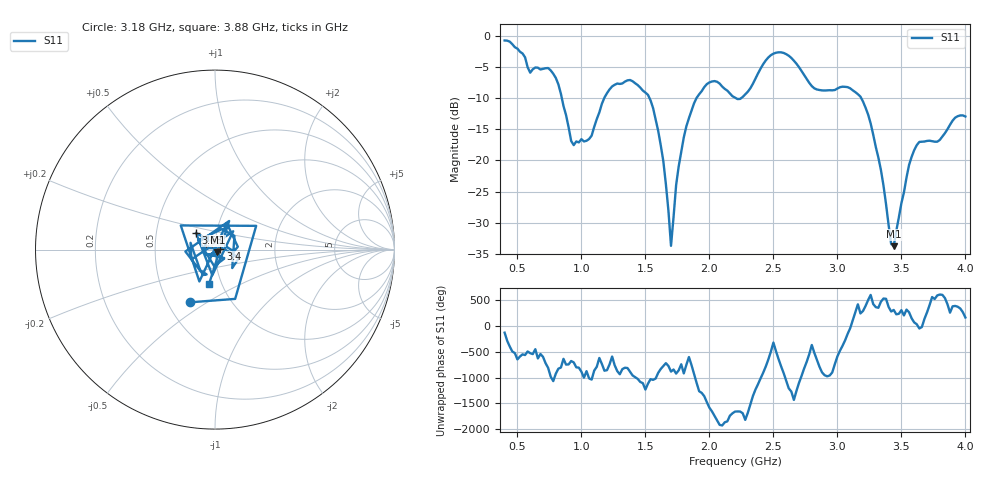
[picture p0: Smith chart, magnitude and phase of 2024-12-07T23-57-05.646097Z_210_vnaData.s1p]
!Created with skrf (http://scikit-rf.org).
# Hz S RI R 50.0
!freq ReS11 ImS11
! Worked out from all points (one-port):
!   181 points, 400 MHz to 4 GHz, reference 50 ohm
!   lowest |S11| = -33.8 dB at 3.44 GHz (marker M1), VSWR 1.04, Z = 51.4 - j1.55 ohm
!   |S11| at or under -10 dB: 846.9 MHz to 1.178 GHz (331.5 MHz wide, 32.7 % of centre); 1.532 GHz to 1.899 GHz (367.6 MHz wide, 21.4 % of centre); 3.186 GHz to end of sweep (the widest 3 of 4)
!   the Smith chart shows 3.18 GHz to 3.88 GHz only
!   S11 on the Smith chart (normalised r, x): 3.18 GHz: 0.65, -0.42; 3.4 GHz: 1.06, +0.01; 3.68 GHz: 0.79, +0.15; 3.88 GHz: 0.87, -0.35
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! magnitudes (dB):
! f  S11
! 400 MHz  -0.8
! 600 MHz  -5.9
! 760 MHz  -5.6
! 860 MHz  -11.3
! 940 MHz  -17.5
! 1.04 GHz  -16.8
! 1.2 GHz  -9.2
! 1.3 GHz  -7.7
! 1.4 GHz  -7.3
! 1.56 GHz  -11.6
! 1.64 GHz  -20.1
! 1.7 GHz  -33.7
! 1.76 GHz  -21.0
! 1.84 GHz  -13.2
! 1.96 GHz  -8.2
! 2.2 GHz  -9.9
! 2.48 GHz  -3.1
! 2.66 GHz  -4.0
! 2.82 GHz  -8.4
! 3.1 GHz  -8.4
! 3.18 GHz  -9.8
! 3.32 GHz  -19.5
! 3.4 GHz  -30.3
! 3.44 GHz  -33.8
! 3.56 GHz  -20.7
! 3.68 GHz  -17.0
! 3.88 GHz  -14.3
! 4 GHz  -13.0
